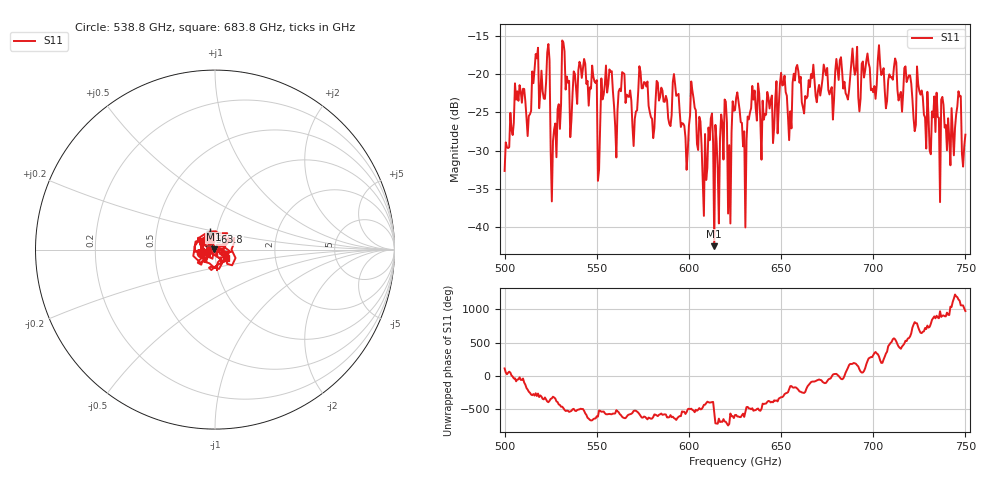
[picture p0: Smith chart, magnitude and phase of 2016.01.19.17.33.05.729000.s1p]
!Created with skrf (http://scikit-rf.org).
# GHz S RI R 50.0
!freq ReS11 ImS11
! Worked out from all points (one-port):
!   401 points, 500 GHz to 750 GHz, reference 50 ohm
!   lowest |S11| = -42.5 dB at 613.8 GHz (marker M1), VSWR 1.02, Z = 49.3 + j0.115 ohm
!   |S11| at or under -10 dB: start of sweep to end of sweep
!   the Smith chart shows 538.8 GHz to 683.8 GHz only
!   S11 on the Smith chart (normalised r, x): 538.8 GHz: 0.85, -0.03; 563.8 GHz: 0.93, +0.19; 683.8 GHz: 1.13, -0.11
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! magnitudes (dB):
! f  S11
! 500 GHz  -32.7
! 516.9 GHz  -17.3
! 523.1 GHz  -17.1
! 526.9 GHz  -27.2
! 531.2 GHz  -15.6
! 538.8 GHz  -21.8
! 548.8 GHz  -20.9
! 551.9 GHz  -26.4
! 553.8 GHz  -22.7
! 562.5 GHz  -21.9
! 563.8 GHz  -19.7
! 570.6 GHz  -25.9
! 574.4 GHz  -21.8
! 580 GHz  -25.8
! 593.8 GHz  -22.7
! 602.5 GHz  -23.1
! 608.8 GHz  -27.8
! 613.8 GHz  -42.5
! 618.8 GHz  -31.2
! 621.9 GHz  -29.3
! 625 GHz  -24.7
! 630 GHz  -27.5
! 634.4 GHz  -21.5
! 656.2 GHz  -21.1
! 683.8 GHz  -21.9
! 687.5 GHz  -20.4
! 718.8 GHz  -20.6
! 750 GHz  -27.9
